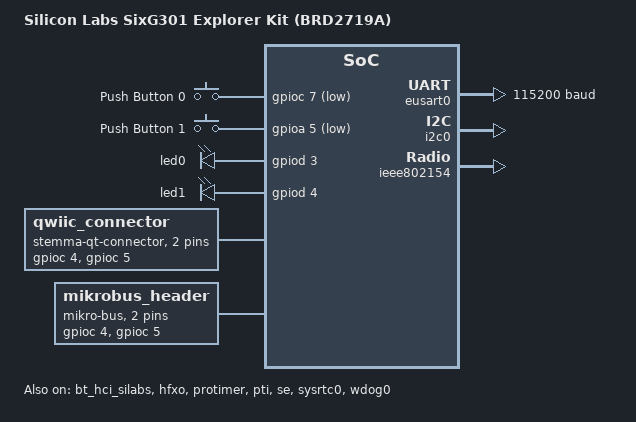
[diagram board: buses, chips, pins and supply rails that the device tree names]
/*
 * Copyright (c) 2026 Silicon Laboratories Inc.
 *
 * SPDX-License-Identifier: Apache-2.0
 */

/dts-v1/;
#include <silabs/six301/simg301m104lil.dtsi>
#include <silabs/six301/clock-hfxo.dtsi>
#include <silabs/six301/clock-socpll.dtsi>
#include <zephyr/dt-bindings/input/input-event-codes.h>

#include "simg301_ek2719a-pinctrl.dtsi"

/ {
	compatible = "silabs,simg301_ek2719a";
	model = "Silicon Labs SixG301 Explorer Kit (BRD2719A)";

	aliases {
		led0 = &led0;
		led1 = &led1;
		sw0 = &button0;
		sw1 = &button1;
		watchdog0 = &wdog0;
	};

	buttons {
		compatible = "gpio-keys";

		button0: button_0 {
			gpios = <&gpioc 7 GPIO_ACTIVE_LOW>;
			label = "Push Button 0";
			zephyr,code = <INPUT_BTN_0>;
		};

		button1: button_1 {
			gpios = <&gpioa 5 GPIO_ACTIVE_LOW>;
			label = "Push Button 1";
			zephyr,code = <INPUT_BTN_1>;
		};
	};

	chosen {
		zephyr,bt-hci = &bt_hci_silabs;
		zephyr,code-partition = &slot0_partition;
		zephyr,console = &eusart0;
		zephyr,flash = &flash0;
		zephyr,ieee802154 = &ieee802154;
		zephyr,openthread-counter = &protimer;
		zephyr,shell-uart = &eusart0;
		zephyr,sram = &sram0;
		zephyr,uart-pipe = &eusart0;
	};

	leds {
		compatible = "gpio-leds";

		led0: led_0 {
			gpios = <&gpiod 3 GPIO_ACTIVE_HIGH>;
		};

		led1: led_1 {
			gpios = <&gpiod 4 GPIO_ACTIVE_HIGH>;
		};
	};

	qwiic_connector: stemma-qt-connector {
		compatible = "stemma-qt-connector";
		#gpio-cells = <2>;
		gpio-map-mask = <0xffffffff 0>;
		gpio-map-pass-thru = <0 GPIO_DT_FLAGS_MASK>;
		gpio-map = <0 0 &gpioc 4 0>, /* SCL */
			   <1 0 &gpioc 5 0>; /* SDA */
	};

	/* mikroBUS I2C shares its pins with the Qwiic connector. */
	mikrobus_header: mikrobus-connector {
		compatible = "mikro-bus";
		#gpio-cells = <2>;
		gpio-map-mask = <0xffffffff 0xffffffc0>;
		gpio-map-pass-thru = <0 0x3f>;
		gpio-map = <10 0 &gpioc 4 0>, /* SCL */
			   <11 0 &gpioc 5 0>; /* SDA */
	};
};

&bt_hci_silabs {
	status = "okay";
};

&eusart0 {
	current-speed = <115200>;
	pinctrl-0 = <&eusart0_default>;
	pinctrl-names = "default";
	status = "okay";
};

&flash0 {
	partitions {
		ranges;
		#address-cells = <1>;
		#size-cells = <1>;

		boot_partition: partition@0 {
			compatible = "zephyr,mapped-partition";
			reg = <0x00000000 DT_SIZE_K(64)>;
			label = "mcuboot";
		};

		slot0_partition: partition@10000 {
			compatible = "zephyr,mapped-partition";
			reg = <0x00010000 DT_SIZE_K(1888)>;
			label = "image-0";
		};

		slot1_partition: partition@1e8000 {
			compatible = "zephyr,mapped-partition";
			reg = <0x001e8000 DT_SIZE_K(1888)>;
			label = "image-1";
		};

		storage_partition: partition@3c0000 {
			compatible = "zephyr,mapped-partition";
			reg = <0x003c0000 DT_SIZE_K(64)>;
			label = "storage";
		};
	};
};

&gpioa {
	status = "okay";
};

&gpiob {
	status = "okay";
};

&gpioc {
	status = "okay";
};

&gpiod {
	status = "okay";
};

&hfxo {
	ctune = <173>;
	precision = <50>;
	status = "okay";
};

zephyr_i2c: &i2c0 {
	pinctrl-0 = <&i2c0_default>;
	pinctrl-names = "default";
	status = "okay";
};

&ieee802154 {
	hfxo = <&hfxo>;
	status = "okay";
};

&protimer {
	status = "okay";
};

&pti {
	pinctrl-0 = <&pti_default>;
	pinctrl-names = "default";
	status = "okay";
};

&se {
	status = "okay";
};

&sysrtc0 {
	status = "okay";
};

&wdog0 {
	status = "okay";
};
